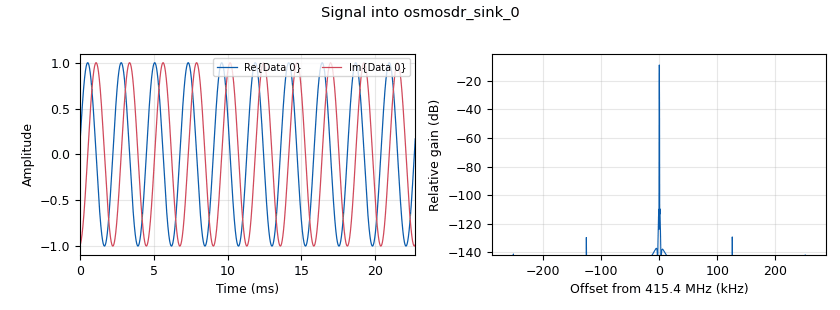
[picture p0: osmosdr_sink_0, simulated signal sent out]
options:
  parameters:
    generate_options: qt_gui
    id: test_0_yt
    output_language: python
    title: Not titled yet
  states: {}

blocks:
- name: RX_rf_gain
  id: variable_qtgui_range
  parameters:
    start: '0'
    step: '1'
    stop: '50'
    value: '0'
  states: {}
- name: TX_rf_gain
  id: variable_qtgui_range
  parameters:
    start: '0'
    step: '1'
    stop: '50'
    value: '30'
  states: {}
- name: freq_slide
  id: variable_qtgui_range
  parameters:
    start: '0'
    step: 1e3
    stop: 1e6
    value: '0'
  states: {}
- name: modulation_number
  id: variable_qtgui_range
  parameters:
    start: '0'
    step: '1e-1'
    stop: '100'
    value: '0.5'
  states: {}
- name: noise
  id: variable_qtgui_range
  parameters:
    start: '1'
    step: '1'
    stop: '10000'
    value: '440'
  states: {}
- name: samp_rate
  id: variable
  parameters:
    value: '576000'
  states: {}
- name: variablee
  id: variable_qtgui_range
  parameters:
    start: '0'
    step: '1e-1'
    stop: '100'
    value: '0.5'
  states: {}
- name: volume
  id: variable_qtgui_range
  parameters:
    label: Audio gain
    start: '0'
    step: '100e-3'
    stop: '100'
    value: '1.2'
  states: {}
- name: analog_const_source_x_0
  id: analog_const_source_x
  parameters:
    const: variablee
    type: complex
  states: {}
- name: analog_const_source_x_1
  id: analog_const_source_x
  parameters:
    const: '1'
    type: complex
  states: {state: disabled}
- name: analog_sig_source_x_0
  id: analog_sig_source_x
  parameters:
    amp: '1'
    freq: noise
    offset: '0'
    phase: '0'
    samp_rate: samp_rate
    type: complex
    waveform: analog.GR_COS_WAVE
  states: {}
- name: analog_sig_source_x_0_0
  id: analog_sig_source_x
  parameters:
    amp: '1'
    freq: '10000'
    offset: '0'
    phase: '0'
    samp_rate: samp_rate
    type: complex
    waveform: analog.GR_COS_WAVE
  states: {state: disabled}
- name: analog_sig_source_x_0_1
  id: analog_sig_source_x
  parameters:
    amp: '1'
    freq: '440'
    offset: '0'
    phase: '0'
    samp_rate: samp_rate
    type: complex
    waveform: analog.GR_COS_WAVE
  states: {}
- name: blocks_add_xx_0
  id: blocks_add_xx
  parameters:
    type: complex
  states: {state: disabled}
- name: blocks_add_xx_0_0
  id: blocks_add_xx
  parameters:
    type: complex
  states: {}
- name: blocks_multiply_xx_0_0
  id: blocks_multiply_xx
  parameters:
    type: complex
  states: {state: disabled}
- name: blocks_multiply_xx_0_0_0
  id: blocks_multiply_xx
  parameters:
    type: complex
  states: {}
- name: osmosdr_sink_0
  id: osmosdr_sink
  parameters:
    bb_gain0: '20'
    freq0: 415.4e6+freq_slide
    gain0: TX_rf_gain
    if_gain0: '20'
    sample_rate: samp_rate
    sync: sync
    type: fc32
  states: {}
- name: osmosdr_source_1
  id: osmosdr_source
  parameters:
    args: '"bladerf=0,nchan=1,buffers=48,transfers=24,agc_mode=manual"'
    bb_gain0: '20'
    freq0: 415.4e6
    gain0: RX_rf_gain
    gain_mode0: 'False'
    if_gain0: '20'
    sample_rate: samp_rate
    sync: sync
    type: fc32
  states: {}
- name: qtgui_sink_x_0
  id: qtgui_sink_x
  parameters:
    bw: samp_rate
    fc: '0'
    fftsize: '1024'
    type: complex
  states: {}

connections:
- [analog_const_source_x_0, '0', blocks_multiply_xx_0_0_0, '1']
- [analog_const_source_x_1, '0', blocks_add_xx_0, '1']
- [analog_sig_source_x_0, '0', blocks_add_xx_0_0, '0']
- [analog_sig_source_x_0_0, '0', blocks_multiply_xx_0_0, '1']
- [analog_sig_source_x_0_1, '0', blocks_add_xx_0_0, '1']
- [blocks_add_xx_0, '0', blocks_multiply_xx_0_0, '0']
- [blocks_add_xx_0_0, '0', blocks_multiply_xx_0_0_0, '0']
- [blocks_multiply_xx_0_0, '0', osmosdr_sink_0, '0']
- [blocks_multiply_xx_0_0_0, '0', osmosdr_sink_0, '0']
- [osmosdr_source_1, '0', qtgui_sink_x_0, '0']

metadata:
  file_format: 1
  grc_version: 3.10.5.1
